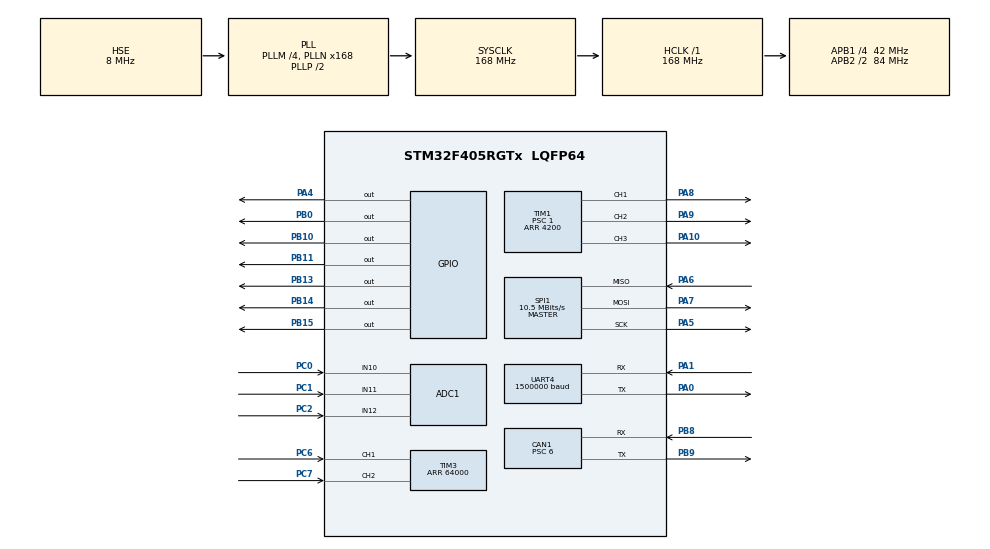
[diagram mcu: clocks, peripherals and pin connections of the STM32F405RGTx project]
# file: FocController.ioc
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ADC1.Channel-2\#ChannelRegularConversion=ADC_CHANNEL_10
ADC1.Channel-3\#ChannelInjectedConversion=ADC_CHANNEL_10
ADC1.Channel-4\#ChannelInjectedConversion=ADC_CHANNEL_11
ADC1.ExternalTrigInjecConv=ADC_EXTERNALTRIGINJECCONV_T1_CC4
ADC1.ExternalTrigInjecConvEdge=ADC_EXTERNALTRIGINJECCONVEDGE_FALLING
ADC1.InjNumberOfConversion=2
ADC1.InjectedOffset-3\#ChannelInjectedConversion=0
ADC1.InjectedOffset-4\#ChannelInjectedConversion=0
ADC1.InjectedRank-3\#ChannelInjectedConversion=1
ADC1.InjectedRank-4\#ChannelInjectedConversion=2
ADC1.NbrOfConversionFlag=1
ADC1.Rank-2\#ChannelRegularConversion=1
ADC1.SamplingTime-2\#ChannelRegularConversion=ADC_SAMPLETIME_3CYCLES
ADC1.SamplingTime-3\#ChannelInjectedConversion=ADC_SAMPLETIME_3CYCLES
ADC1.SamplingTime-4\#ChannelInjectedConversion=ADC_SAMPLETIME_3CYCLES
ADC1.master=1
CAN1.AWUM=ENABLE
CAN1.BS1=CAN_BS1_3TQ
CAN1.BS2=CAN_BS2_3TQ
CAN1.CalculateBaudRate=1000000
CAN1.CalculateTimeBit=1000
CAN1.CalculateTimeQuantum=142.85714285714286
CAN1.Prescaler=6
FREERTOS.Tasks01=defaultTask,24,128,StartDefaultTask,Default,NULL,Dynamic,NULL,NULL
Mcu.Family=STM32F4
Mcu.Name=STM32F405RGTx
Mcu.Package=LQFP64
NVIC.ADC_IRQn=true\:5\:0\:false\:false\:true\:true\:true\:true\:true
NVIC.CAN1_RX0_IRQn=true\:5\:0\:false\:false\:true\:true\:true\:true\:true
NVIC.PriorityGroup=NVIC_PRIORITYGROUP_4
NVIC.TIM6_DAC_IRQn=true\:0\:0\:true\:false\:true\:false\:true\:true\:true
NVIC.UART4_IRQn=true\:5\:0\:false\:false\:true\:false\:true\:true\:true
PA0-WKUP.Mode=Asynchronous
PA0-WKUP.Signal=UART4_TX
PA1.Mode=Asynchronous
PA1.Signal=UART4_RX
PA10.GPIO_PuPd=GPIO_PULLUP
PA10.GPIO_Speed=GPIO_SPEED_FREQ_VERY_HIGH
PA10.Signal=S_TIM1_CH3
PA13.Mode=Serial_Wire
PA13.Signal=SYS_JTMS-SWDIO
PA14.Mode=Serial_Wire
PA14.Signal=SYS_JTCK-SWCLK
PA4.GPIO_PuPd=GPIO_PULLDOWN
PA4.GPIO_Speed=GPIO_SPEED_FREQ_VERY_HIGH
PA4.PinState=GPIO_PIN_SET
PA4.Signal=GPIO_Output
PA5.Mode=Full_Duplex_Master
PA5.Signal=SPI1_SCK
PA6.Mode=Full_Duplex_Master
PA6.Signal=SPI1_MISO
PA7.Mode=Full_Duplex_Master
PA7.Signal=SPI1_MOSI
PA8.GPIO_PuPd=GPIO_PULLUP
PA8.GPIO_Speed=GPIO_SPEED_FREQ_VERY_HIGH
PA8.Signal=S_TIM1_CH1
PA9.GPIO_PuPd=GPIO_PULLUP
PA9.GPIO_Speed=GPIO_SPEED_FREQ_VERY_HIGH
PA9.Signal=S_TIM1_CH2
PB0.Signal=GPIO_Output
PB10.PinState=GPIO_PIN_SET
PB10.Signal=GPIO_Output
PB11.PinState=GPIO_PIN_RESET
PB11.Signal=GPIO_Output
PB13.GPIO_ModeDefaultOutputPP=GPIO_MODE_OUTPUT_PP
PB13.GPIO_PuPd=GPIO_PULLUP
PB13.GPIO_Speed=GPIO_SPEED_FREQ_LOW
PB13.PinState=GPIO_PIN_SET
PB13.Signal=GPIO_Output
PB14.GPIO_PuPd=GPIO_PULLUP
PB14.PinState=GPIO_PIN_SET
PB14.Signal=GPIO_Output
PB15.GPIO_PuPd=GPIO_PULLUP
PB15.PinState=GPIO_PIN_SET
PB15.Signal=GPIO_Output
PB8.Mode=CAN_Activate
PB8.Signal=CAN1_RX
PB9.Mode=CAN_Activate
PB9.Signal=CAN1_TX
PC0.Signal=ADCx_IN10
PC1.Signal=ADCx_IN11
PC2.Signal=ADCx_IN12
PC6.Signal=S_TIM3_CH1
PC7.Signal=S_TIM3_CH2
PH0-OSC_IN.Mode=HSE-External-Oscillator
PH0-OSC_IN.Signal=RCC_OSC_IN
PH1-OSC_OUT.Mode=HSE-External-Oscillator
PH1-OSC_OUT.Signal=RCC_OSC_OUT
ProjectManager.HeapSize=0x200
ProjectManager.StackSize=0x400
ProjectManager.TargetToolchain=STM32CubeIDE
RCC.48MHZClocksFreq_Value=84000000
RCC.AHBFreq_Value=168000000
RCC.APB1CLKDivider=RCC_HCLK_DIV4
RCC.APB1Freq_Value=42000000
RCC.APB1TimFreq_Value=84000000
RCC.APB2CLKDivider=RCC_HCLK_DIV2
RCC.APB2Freq_Value=84000000
RCC.APB2TimFreq_Value=168000000
RCC.CortexFreq_Value=168000000
RCC.HCLKFreq_Value=168000000
RCC.HSE_VALUE=8000000
RCC.HSI_VALUE=16000000
RCC.LSE_VALUE=32768
RCC.PLLM=4
RCC.PLLN=168
RCC.PLLSourceVirtual=RCC_PLLSOURCE_HSE
RCC.SYSCLKFreq_VALUE=168000000
RCC.SYSCLKSource=RCC_SYSCLKSOURCE_PLLCLK
RCC.VCOOutputFreq_Value=336000000
SH.ADCx_IN10.0=ADC1_IN10,IN10
SH.ADCx_IN11.0=ADC1_IN11,IN11
SH.ADCx_IN12.0=ADC1_IN12,IN12
SH.S_TIM1_CH1.0=TIM1_CH1,PWM Generation1 CH1
SH.S_TIM1_CH2.0=TIM1_CH2,PWM Generation2 CH2
SH.S_TIM1_CH3.0=TIM1_CH3,PWM Generation3 CH3
SH.S_TIM3_CH1.0=TIM3_CH1,Encoder_Interface
SH.S_TIM3_CH2.0=TIM3_CH2,Encoder_Interface
SPI1.BaudRatePrescaler=SPI_BAUDRATEPRESCALER_8
SPI1.CLKPhase=SPI_PHASE_2EDGE
SPI1.CalculateBaudRate=10.5 MBits/s
SPI1.DataSize=SPI_DATASIZE_16BIT
SPI1.Direction=SPI_DIRECTION_2LINES
SPI1.Mode=SPI_MODE_MASTER
SPI1.VirtualType=VM_MASTER
TIM1.AutoReloadPreload=TIM_AUTORELOAD_PRELOAD_ENABLE
TIM1.Channel-PWM\ Generation1\ CH1=TIM_CHANNEL_1
TIM1.Channel-PWM\ Generation2\ CH2=TIM_CHANNEL_2
TIM1.Channel-PWM\ Generation3\ CH3=TIM_CHANNEL_3
TIM1.Channel-PWM\ Generation4\ No\ Output=TIM_CHANNEL_4
TIM1.ClockDivision=TIM_CLOCKDIVISION_DIV1
TIM1.CounterMode=TIM_COUNTERMODE_CENTERALIGNED1
TIM1.Period=4200
TIM1.Prescaler=1
TIM1.Pulse-PWM\ Generation4\ No\ Output=4100
TIM1.RepetitionCounter=0
TIM1.TIM_MasterOutputTrigger=TIM_TRGO_UPDATE
TIM3.EncoderMode=TIM_ENCODERMODE_TI12
TIM3.IC1Filter=4
TIM3.Period=64000
TIM6.AutoReloadPreload=TIM_AUTORELOAD_PRELOAD_DISABLE
TIM6.Period=999
TIM6.Prescaler=83
TIM6.TIM_MasterOutputTrigger=TIM_TRGO_RESET
UART4.BaudRate=1500000
UART4.VirtualMode=Asynchronous
VP_FREERTOS_VS_CMSIS_V2.Mode=CMSIS_V2
VP_TIM1_VS_no_output4.Mode=PWM Generation4 No Output
VP_TIM6_VS_ClockSourceINT.Mode=Enable_Timer
board=custom

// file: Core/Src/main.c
/* USER CODE BEGIN Header */
/**
  ******************************************************************************
  * @file           : main.c
  * @brief          : Main program body
  ******************************************************************************
  * @attention
  *
  * <h2><center>&copy; Copyright (c) 2021 STMicroelectronics.
  * All rights reserved.</center></h2>
  *
  * This software component is licensed by ST under BSD 3-Clause license,
  * the "License"; You may not use this file except in compliance with the
  * License. You may obtain a copy of the License at:
  *                        opensource.org/licenses/BSD-3-Clause
  *
  ******************************************************************************
  */
/* USER CODE END Header */
#include "main.h"
#include "cmsis_os.h"
#include "adc.h"
#include "can.h"
#include "spi.h"
#include "tim.h"
#include "usart.h"
#include "gpio.h"

void SystemClock_Config(void);
void MX_FREERTOS_Init(void);

/* USER CODE BEGIN 0 */
//int _write(int file, char *ptr, int len)
//{
//	for(int i=0; i<len; i++)
//		uart4SendByte(ptr[i]);
////	 if(HAL_UART_Transmit(&huart4, ptr, len, 0xffff) != HAL_OK)
////	 {
////		 Error_Handler();
////	 }
//}
/* USER CODE END 0 */

int main(void)
{

  /* MCU Configuration--------------------------------------------------------*/

  /* Reset of all peripherals, Initializes the Flash interface and the Systick. */
  HAL_Init();

  /* Configure the system clock */
  SystemClock_Config();

  /* Initialize all configured peripherals */
  MX_GPIO_Init();
  MX_TIM1_Init();
  MX_UART4_Init();
  MX_ADC1_Init();
  MX_SPI1_Init();
  MX_TIM6_Init();
  MX_TIM3_Init();
  MX_CAN1_Init();
  /* USER CODE BEGIN 2 */
  HAL_TIMEx_PWMN_Start(&htim1, TIM_CHANNEL_1);
  HAL_TIM_PWM_Start(&htim1, TIM_CHANNEL_1);
  HAL_TIMEx_PWMN_Start(&htim1, TIM_CHANNEL_2);
  HAL_TIM_PWM_Start(&htim1, TIM_CHANNEL_2);
  HAL_TIMEx_PWMN_Start(&htim1, TIM_CHANNEL_3);
  HAL_TIM_PWM_Start(&htim1, TIM_CHANNEL_3);
  HAL_TIM_PWM_Start(&htim1, TIM_CHANNEL_4);
  /* USER CODE END 2 */

  /* Init scheduler */
  osKernelInitialize();  /* Call init function for freertos objects (in freertos.c) */
  MX_FREERTOS_Init();
  /* Start scheduler */
  osKernelStart();

  /* We should never get here as control is now taken by the scheduler */
  /* Infinite loop */
  /* USER CODE BEGIN WHILE */
  HAL_Delay(1000);

  while (1)
  {
    /* USER CODE END WHILE */

  }
}

void SystemClock_Config(void)
{
  RCC_OscInitTypeDef RCC_OscInitStruct = {0};
  RCC_ClkInitTypeDef RCC_ClkInitStruct = {0};

  /** Configure the main internal regulator output voltage
  */
  __HAL_RCC_PWR_CLK_ENABLE();
  __HAL_PWR_VOLTAGESCALING_CONFIG(PWR_REGULATOR_VOLTAGE_SCALE1);
  /** Initializes the RCC Oscillators according to the specified parameters
  * in the RCC_OscInitTypeDef structure.
  */
  RCC_OscInitStruct.OscillatorType = RCC_OSCILLATORTYPE_HSE;
  RCC_OscInitStruct.HSEState = RCC_HSE_ON;
  RCC_OscInitStruct.PLL.PLLState = RCC_PLL_ON;
  RCC_OscInitStruct.PLL.PLLSource = RCC_PLLSOURCE_HSE;
  RCC_OscInitStruct.PLL.PLLM = 4;
  RCC_OscInitStruct.PLL.PLLN = 168;
  RCC_OscInitStruct.PLL.PLLP = RCC_PLLP_DIV2;
  RCC_OscInitStruct.PLL.PLLQ = 4;
  if (HAL_RCC_OscConfig(&RCC_OscInitStruct) != HAL_OK)
  {
    Error_Handler();
  }
  /** Initializes the CPU, AHB and APB buses clocks
  */
  RCC_ClkInitStruct.ClockType = RCC_CLOCKTYPE_HCLK|RCC_CLOCKTYPE_SYSCLK
                              |RCC_CLOCKTYPE_PCLK1|RCC_CLOCKTYPE_PCLK2;
  RCC_ClkInitStruct.SYSCLKSource = RCC_SYSCLKSOURCE_PLLCLK;
  RCC_ClkInitStruct.AHBCLKDivider = RCC_SYSCLK_DIV1;
  RCC_ClkInitStruct.APB1CLKDivider = RCC_HCLK_DIV4;
  RCC_ClkInitStruct.APB2CLKDivider = RCC_HCLK_DIV2;

  if (HAL_RCC_ClockConfig(&RCC_ClkInitStruct, FLASH_LATENCY_5) != HAL_OK)
  {
    Error_Handler();
  }
}

void Error_Handler(void)
{
  __disable_irq();
  while (1)
  {
  }
}

/************************ (C) COPYRIGHT STMicroelectronics *****END OF FILE****/

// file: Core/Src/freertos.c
/* USER CODE BEGIN Header */
/**
  ******************************************************************************
  * File Name          : freertos.c
  * Description        : Code for freertos applications
  ******************************************************************************
  * @attention
  *
  * <h2><center>&copy; Copyright (c) 2021 STMicroelectronics.
  * All rights reserved.</center></h2>
  *
  * This software component is licensed by ST under Ultimate Liberty license
  * SLA0044, the "License"; You may not use this file except in compliance with
  * the License. You may obtain a copy of the License at:
  *                             www.st.com/SLA0044
  *
  ******************************************************************************
  */
/* USER CODE END Header */

#include "FreeRTOS.h"
#include "task.h"
#include "main.h"
#include "cmsis_os.h"

/* Definitions for defaultTask */
osThreadId_t defaultTaskHandle;
const osThreadAttr_t defaultTask_attributes = {
  .name = "defaultTask",
  .stack_size = 128 * 4,
  .priority = (osPriority_t) osPriorityNormal,
};

/* USER CODE BEGIN FunctionPrototypes */

osThreadId_t StartFocTaskHandle;
const osThreadAttr_t StartFocTask_attributes = {
  .name = "StartFocTask",
  .stack_size = 1024 * 4,
  .priority = (osPriority_t) osPriorityNormal,
};

osThreadId_t protocolTaskHandle;
const osThreadAttr_t protocolTask_attributes = {
  .name = "protocolTask",
  .stack_size = 1024 * 4,
  .priority = (osPriority_t) osPriorityNormal7,
};
/* USER CODE END FunctionPrototypes */

void StartDefaultTask(void *argument);

void MX_FREERTOS_Init(void); /* (MISRA C 2004 rule 8.1) */

void MX_FREERTOS_Init(void) {

  /* Create the thread(s) */
  /* creation of defaultTask */
  defaultTaskHandle = osThreadNew(StartDefaultTask, NULL, &defaultTask_attributes);

  /* USER CODE BEGIN RTOS_THREADS */
  /* add threads, ... */
  StartFocTaskHandle = osThreadNew(StartFocTask, NULL, &StartFocTask_attributes);
  protocolTaskHandle = osThreadNew(protocolTask, NULL, &protocolTask_attributes);

  /* USER CODE END RTOS_THREADS */

}

void StartDefaultTask(void *argument)
{
  /* USER CODE BEGIN StartDefaultTask */
  /* Infinite loop */
	for(;;)
	{
		vTaskDelay(1000);
	}
  /* USER CODE END StartDefaultTask */
}

/************************ (C) COPYRIGHT STMicroelectronics *****END OF FILE****/
